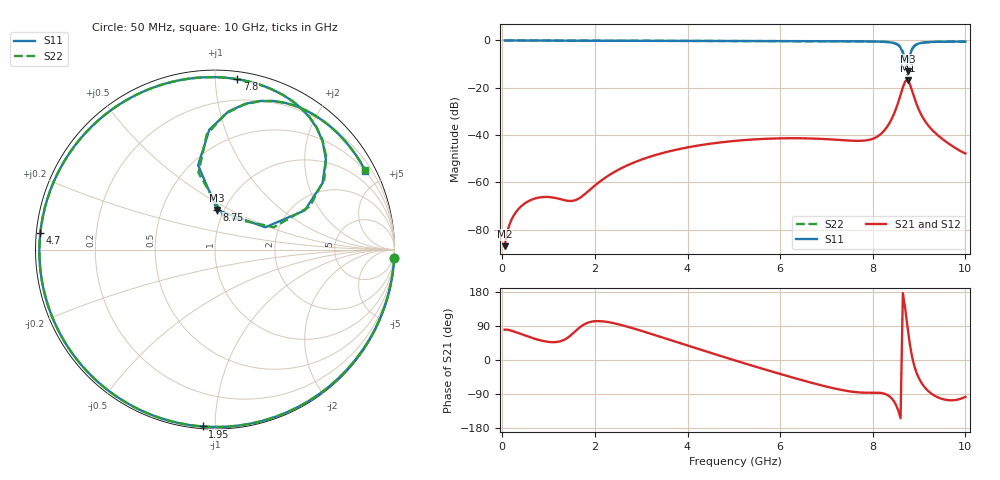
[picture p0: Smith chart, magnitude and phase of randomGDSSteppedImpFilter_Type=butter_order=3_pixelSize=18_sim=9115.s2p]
! freq	dB(S11)	phase(S11)	dB(S12)	phase(S12)
!  dB(S21)	phase(S21)	dB(S22)	phase(S22)
!S-par simulation data
#  GHz  S  DB  R 50
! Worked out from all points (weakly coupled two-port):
!   200 points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, 50 MHz to 10 GHz, reference 50 ohm
!   highest |S21| = -16.68 dB at 8.75 GHz (marker M1); lowest = -87.0 dB at 50 MHz (marker M2)
!   lowest |S11| = -13.1 dB at 8.75 GHz (marker M3), VSWR 1.57, Z = 46.5 + j21.6 ohm
!   |S11| at or under -10 dB: 8.697 GHz to 8.773 GHz (75.73 MHz wide, 0.867 % of centre)
!   |S22| runs from -14.4 to 0.0 dB; largest |S21 - S12| = 0
!   S11 on the Smith chart (normalised r, x): 50 MHz: 0, -44; 1.95 GHz: 0.01, -0.93; 4.7 GHz: 0.01, +0.05; 7.8 GHz: 0.05, +1.14; 8.75 GHz: 0.93, +0.43; 10 GHz: 0.48, +3.99
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0.05  -0.00 -2.6  -87.04 80.0  -87.04 80.0  -0.00 -2.6
0.35  -0.03 -18.4  -71.30 70.9  -71.30 70.9  -0.03 -18.4
0.6  -0.04 -31.4  -67.66 60.0  -67.66 60.0  -0.04 -31.4
1.2  -0.07 -60.9  -66.86 48.0  -66.86 48.0  -0.07 -60.9
1.75  -0.10 -85.6  -65.53 92.7  -65.53 92.7  -0.10 -85.6
1.95  -0.11 -94.0  -62.20 101.6  -62.20 101.6  -0.11 -94.0
2.6  -0.13 -119.1  -53.77 91.4  -53.77 91.4  -0.13 -119.0
3.4  -0.15 -146.3  -47.96 61.7  -47.96 61.7  -0.15 -146.3
4.7  -0.20 174.5  -43.16 11.2  -43.16 11.2  -0.20 174.6
5.05  -0.21 164.6  -42.44 -2.1  -42.44 -2.1  -0.21 164.6
6.7  -0.29 117.4  -41.50 -60.8  -41.50 -60.8  -0.29 117.4
7.8  -0.38 82.6  -42.40 -86.2  -42.40 -86.2  -0.38 82.6
8.1  -0.47 70.9  -40.65 -86.2  -40.65 -86.2  -0.46 70.9
8.35  -0.74 57.8  -35.30 -94.9  -35.30 -94.9  -0.72 58.0
8.6  -3.05 31.7  -23.04 -153.7  -23.04 -153.7  -2.81 32.8
8.7  -10.26 23.9  -17.31 136.2  -17.31 136.2  -9.09 20.8
8.75  -13.11 86.7  -16.68 87.7  -16.68 87.7  -14.41 75.2
8.8  -6.38 101.3  -18.42 42.1  -18.42 42.1  -7.16 102.1
8.85  -3.49 92.7  -21.39 7.5  -21.39 7.5  -3.82 94.1
9  -1.24 72.8  -29.54 -49.0  -29.54 -49.0  -1.29 73.5
9.35  -0.59 51.9  -39.16 -95.3  -39.16 -95.3  -0.59 52.0
10  -0.48 27.8  -47.82 -97.2  -47.82 -97.2  -0.48 27.8
